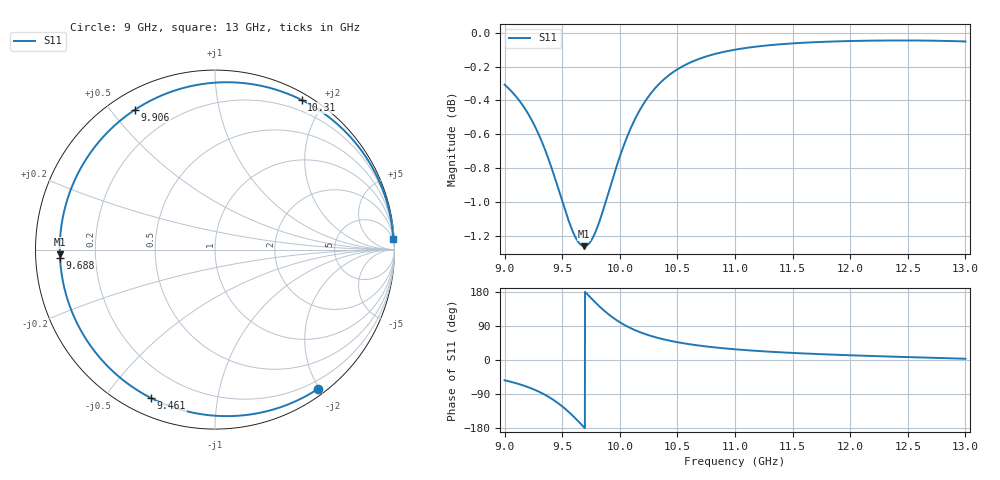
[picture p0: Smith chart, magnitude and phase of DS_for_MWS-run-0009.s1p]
! TOUCHSTONE file generated by CST DESIGN STUDIO
! Date and time: Wed Feb  5 13:38:23 2025
! Project name: C:\Work\MatlabApps\UnitCellOptimizationMatlab\CST\unitcell.cst
! Tree item: Tasks\Sweep1\SPara1\S-Parameters
! Header version: 2024
! Port assignment regex: !\s*Touchstone port\s*([0-9]+)\s*=\s*(CST MWS port|CST DES external port|CST DES block port)\s*(.+)\s* \(\"(.*)\"\)(\s*mode\s*([0-9]+))?.*
! Touchstone port assignment:
! Touchstone port 1 = CST DES external port 1 ("")
# GHz S MA R 50
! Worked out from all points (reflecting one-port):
!   4001 points, 9 GHz to 13 GHz, reference 50 ohm
!   lowest |S11| = -1.3 dB at 9.692 GHz (marker M1), VSWR 13.80, Z = 3.62 - j0.782 ohm
!   phase of S11 starts at -54 deg and turns -303 deg over the sweep
!   S11 on the Smith chart (normalised r, x): 9 GHz: 0.09, -1.98; 9.461 GHz: 0.07, -0.66; 9.688 GHz: 0.07, -0.03; 9.906 GHz: 0.07, +0.58; 10.31 GHz: 0.07, +1.73; 13 GHz: 3, +34
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9  0.9653 -53.5
9.122  0.9554 -63.3
9.239  0.9418 -75.8
9.363  0.9212 -93.9
9.461  0.9005 -113.2
9.5  0.8918 -122.4
9.552  0.8807 -135.9
9.606  0.8713 -151.4
9.648  0.8666 -164.3
9.688  0.8649 -176.9
9.692  0.8648 -178.2
9.737  0.8668 167.5
9.785  0.8726 152.7
9.846  0.8843 135.1
9.906  0.8979 119.7
9.951  0.9084 109.5
10  0.9192 99.7
10.068  0.9325 88.0
10.15  0.9456 76.5
10.228  0.9553 67.6
10.311  0.9633 59.9
10.5  0.9754 46.9
10.719  0.9832 36.9
11  0.9885 28.3
11.5  0.9928 18.7
12  0.9944 12.4
12.5  0.9948 7.7
13  0.9941 3.4
